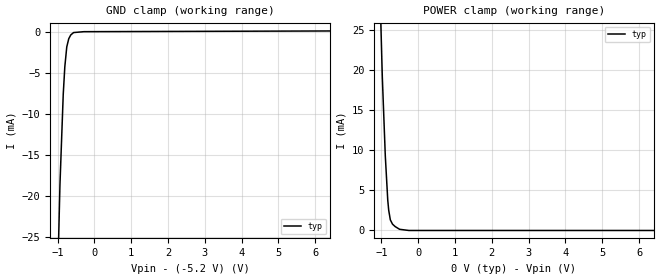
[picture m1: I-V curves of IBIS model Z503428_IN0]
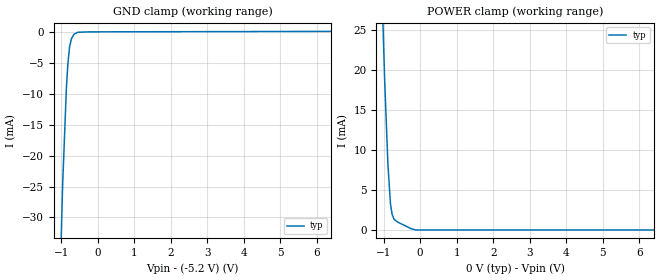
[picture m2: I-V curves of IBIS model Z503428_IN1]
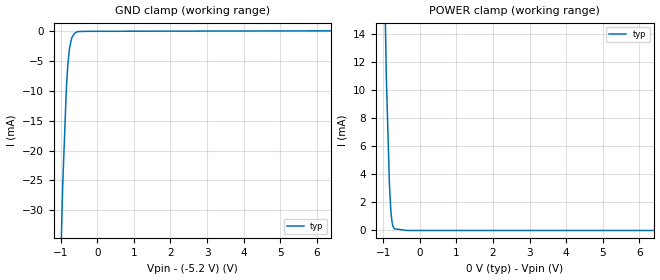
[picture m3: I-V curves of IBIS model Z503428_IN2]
| YOU ARE ONLY AUTHORIZED TO USE THIS SOFTWARE
| ACCORDING TO LICENSOR'S LICENSE RESTRICTIONS.
[IBIS Ver] 3.1
[File Name] mc10el35d.ibs
[File Rev] 2.0
[Source] Measured and created by ICX Technology
[Date] Friday 7/14/00 9:07:50 AM
[Copyright]
| (C) COPYRIGHT 1993-2000
| MENTOR GRAPHICS CORPORATION
| ICX STANDARD LIBRARY, ICX PROJECT MODELING,
| ICX CUSTOM MODELING, ICX VENDOR MODEL
| ALL RIGHTS RESERVED.
| THE FOLLOWING ARE TRADEMARKS OR SERVICE MARKS OF
| MENTOR GRAPHICS CORPORATION:ICX (R), ICX STANDARD
| LIBRARY(R), ICX PROJECT MODELING(R), ICX CUSTOM
| MODELING(R), qualityIBIS(TM), MODELVIEWER(TM),
| AND MODELEDITOR(TM)
| ALL COPIES OF SOFTWARE, INCLUDING BUT NOT LIMITED TO
| ANY MODIFICATIONS, ENHANCEMENTS OR DERIVATIVE WORKS,
| MUST CONTAIN ALL MENTOR GRAPHICS CORPORATION'S
| NOTICES AND LEGENDS, INCLUDING THOSE EMBEDDED IN
| SOFTWARE AND THOSE AFFIXED TO SOFTWARE MEDIUM
| AND CONTAINER, AS RECEIVED FROM MENTOR GRAPHICS
| CORPORATION.
|  ZAP Model Builder 2.7
[Component] MC10EL35D
[Manufacturer] OnSemiconductor
[Package]
| variable   typ   min   max
R_pkg  .152ohms NA NA
L_pkg  2.714nH NA NA
C_pkg  .364pF NA NA
[Pin] signal_name  model_name  R_pin  L_pin C_pin
1 J Z503428_IN0 .154 2.924n .374p
2 K Z503428_IN0 .15 2.504n .354p
3 CLK Z503428_IN1 .15 2.504n .354p
4 R Z503428_IN2 .154 2.924n .374p
5 VEE POWER .154 2.924n .374p
6 _Q Z503428_OUT .15 2.504n .354p
7 Q Z503428_OUT .15 2.504n .354p
8 VCC POWER .154 2.924n .374p
| Models and submodels in the file (4): Z503428_IN0 (Input_ECL), Z503428_IN1 (Input_ECL), Z503428_IN2 (Input_ECL), Z503428_OUT (Output_ECL)
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| (C) COPYRIGHT 1993-2000
| MENTOR GRAPHICS CORPORATION
| ICX STANDARD LIBRARY, ICX PROJECT MODELING,
| ICX CUSTOM MODELING, ICX VENDOR MODEL
| ALL RIGHTS RESERVED.
| THE FOLLOWING ARE TRADEMARKS OR SERVICE MARKS OF
| MENTOR GRAPHICS CORPORATION:ICX (R), ICX STANDARD
| LIBRARY(R), ICX PROJECT MODELING(R), ICX CUSTOM
| MODELING(R), qualityIBIS(TM), MODELVIEWER(TM),
| AND MODELEDITOR(TM)
| ALL COPIES OF SOFTWARE, INCLUDING BUT NOT LIMITED TO
| ANY MODIFICATIONS, ENHANCEMENTS OR DERIVATIVE WORKS,
| MUST CONTAIN ALL MENTOR GRAPHICS CORPORATION'S
| NOTICES AND LEGENDS, INCLUDING THOSE EMBEDDED IN
| SOFTWARE AND THOSE AFFIXED TO SOFTWARE MEDIUM
| AND CONTAINER, AS RECEIVED FROM MENTOR GRAPHICS
| CORPORATION.
| Model Application Version 1.89 2/18/99.
[Model] Z503428_IN0
Model_type Input_ECL
Vinl = -1.480V
Vinh = -1.130V
C_comp 8.000pF NA NA
| variable typ   min   max
[Voltage Range] -5.200V NA NA
[GND Clamp Reference] -5.200V NA NA
[POWER Clamp Reference] 0.000V NA NA
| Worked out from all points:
|   GND clamp passes 1 mA (typ) near -0.70 V on its own axis
|   POWER clamp passes 1 mA (typ) near -0.72 V on its own axis
[GND Clamp]
-5.2V     -795.9mA   NA         NA
-937mV    -18.61mA   NA         NA
-848mV    -7.657mA   NA         NA
-805mV    -4.287mA   NA         NA
-752mV    -1.873mA   NA         NA
-698mV    -877.1uA   NA         NA
-644mV    -422.1uA   NA         NA
-567mV    -128.3uA   NA         NA
-283.5mV  -20.81uA   NA         NA
10.4V     116.6uA    NA         NA
[POWER Clamp]
-5.2V     1.747A     NA         NA
-1.064V   34.06mA    NA         NA
-975.1mV  19.19mA    NA         NA
-893.7mV  9.309mA    NA         NA
-827.4mV  3.811mA    NA         NA
-801.2mV  2.523mA    NA         NA
-756.7mV  1.32mA     NA         NA
-698.3mV  792uA      NA         NA
-505.9mV  148uA      NA         NA
-253mV    0A         NA         NA
10.4V     0A         NA         NA
| (C) COPYRIGHT 1993-2000
| MENTOR GRAPHICS CORPORATION
| ICX STANDARD LIBRARY, ICX PROJECT MODELING,
| ICX CUSTOM MODELING, ICX VENDOR MODEL
| ALL RIGHTS RESERVED.
| THE FOLLOWING ARE TRADEMARKS OR SERVICE MARKS OF
| MENTOR GRAPHICS CORPORATION:ICX (R), ICX STANDARD
| LIBRARY(R), ICX PROJECT MODELING(R), ICX CUSTOM
| MODELING(R), qualityIBIS(TM), MODELVIEWER(TM),
| AND MODELEDITOR(TM)
| ALL COPIES OF SOFTWARE, INCLUDING BUT NOT LIMITED TO
| ANY MODIFICATIONS, ENHANCEMENTS OR DERIVATIVE WORKS,
| MUST CONTAIN ALL MENTOR GRAPHICS CORPORATION'S
| NOTICES AND LEGENDS, INCLUDING THOSE EMBEDDED IN
| SOFTWARE AND THOSE AFFIXED TO SOFTWARE MEDIUM
| AND CONTAINER, AS RECEIVED FROM MENTOR GRAPHICS
| CORPORATION.
| Model Application Version 1.89 2/18/99.
[Model] Z503428_IN1
Model_type Input_ECL
Vinl = -1.480V
Vinh = -1.130V
C_comp 8.000pF NA NA
| variable typ   min   max
[Voltage Range] -5.200V NA NA
[GND Clamp Reference] -5.200V NA NA
[POWER Clamp Reference] 0.000V NA NA
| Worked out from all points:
|   GND clamp passes 1 mA (typ) near -0.71 V on its own axis
|   POWER clamp passes 1 mA (typ) near -0.62 V on its own axis
[GND Clamp]
-5.2V     -949.5mA   NA         NA
-958mV    -24.63mA   NA         NA
-855mV    -8.985mA   NA         NA
-815mV    -5.208mA   NA         NA
-767mV    -2.385mA   NA         NA
-715mV    -1.087mA   NA         NA
-645mV    -386.3uA   NA         NA
-545mV    -83.23uA   NA         NA
-272.5mV  -18.1uA    NA         NA
10.4V     114.9uA    NA         NA
[POWER Clamp]
-5.2V     1.551A     NA         NA
-1.131V   49.15mA    NA         NA
-1.06V    32.44mA    NA         NA
-974.7mV  19.17mA    NA         NA
-883.8mV  8.369mA    NA         NA
-814.3mV  3.35mA     NA         NA
-767.8mV  1.941mA    NA         NA
-712.8mV  1.339mA    NA         NA
-619.3mV  998.2uA    NA         NA
-246.5mV  159.9uA    NA         NA
-123.3mV  0A         NA         NA
10.4V     0A         NA         NA
| (C) COPYRIGHT 1993-2000
| MENTOR GRAPHICS CORPORATION
| ICX STANDARD LIBRARY, ICX PROJECT MODELING,
| ICX CUSTOM MODELING, ICX VENDOR MODEL
| ALL RIGHTS RESERVED.
| THE FOLLOWING ARE TRADEMARKS OR SERVICE MARKS OF
| MENTOR GRAPHICS CORPORATION:ICX (R), ICX STANDARD
| LIBRARY(R), ICX PROJECT MODELING(R), ICX CUSTOM
| MODELING(R), qualityIBIS(TM), MODELVIEWER(TM),
| AND MODELEDITOR(TM)
| ALL COPIES OF SOFTWARE, INCLUDING BUT NOT LIMITED TO
| ANY MODIFICATIONS, ENHANCEMENTS OR DERIVATIVE WORKS,
| MUST CONTAIN ALL MENTOR GRAPHICS CORPORATION'S
| NOTICES AND LEGENDS, INCLUDING THOSE EMBEDDED IN
| SOFTWARE AND THOSE AFFIXED TO SOFTWARE MEDIUM
| AND CONTAINER, AS RECEIVED FROM MENTOR GRAPHICS
| CORPORATION.
| Model Application Version 1.89 2/18/99.
[Model] Z503428_IN2
Model_type Input_ECL
Vinl = -1.480V
Vinh = -1.130V
C_comp 8.000pF NA NA
| variable typ   min   max
[Voltage Range] -5.200V NA NA
[GND Clamp Reference] -5.200V NA NA
[POWER Clamp Reference] 0.000V NA NA
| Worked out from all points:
|   GND clamp passes 1 mA (typ) near -0.69 V on its own axis
|   POWER clamp passes 1 mA (typ) near -0.78 V on its own axis
[GND Clamp]
-5.2V     -1.041A    NA         NA
-948mV    -25.69mA   NA         NA
-849mV    -9.609mA   NA         NA
-810mV    -5.719mA   NA         NA
-762mV    -2.782mA   NA         NA
-698mV    -1.051mA   NA         NA
-625mV    -368.4uA   NA         NA
-567mV    -131.6uA   NA         NA
-525mV    -53.45uA   NA         NA
-262.5mV  -16.8uA    NA         NA
10.4V     110.5uA    NA         NA
[POWER Clamp]
-5.2V     1.488A     NA         NA
-1.171V   56.82mA    NA         NA
-1.078V   34.64mA    NA         NA
-917.9mV  10.94mA    NA         NA
-833.4mV  3.275mA    NA         NA
-794.5mV  1.388mA    NA         NA
-762.9mV  621.4uA    NA         NA
-747mV    380.2uA    NA         NA
-704.5mV  119.4uA    NA         NA
-352.3mV  0A         NA         NA
10.4V     0A         NA         NA
